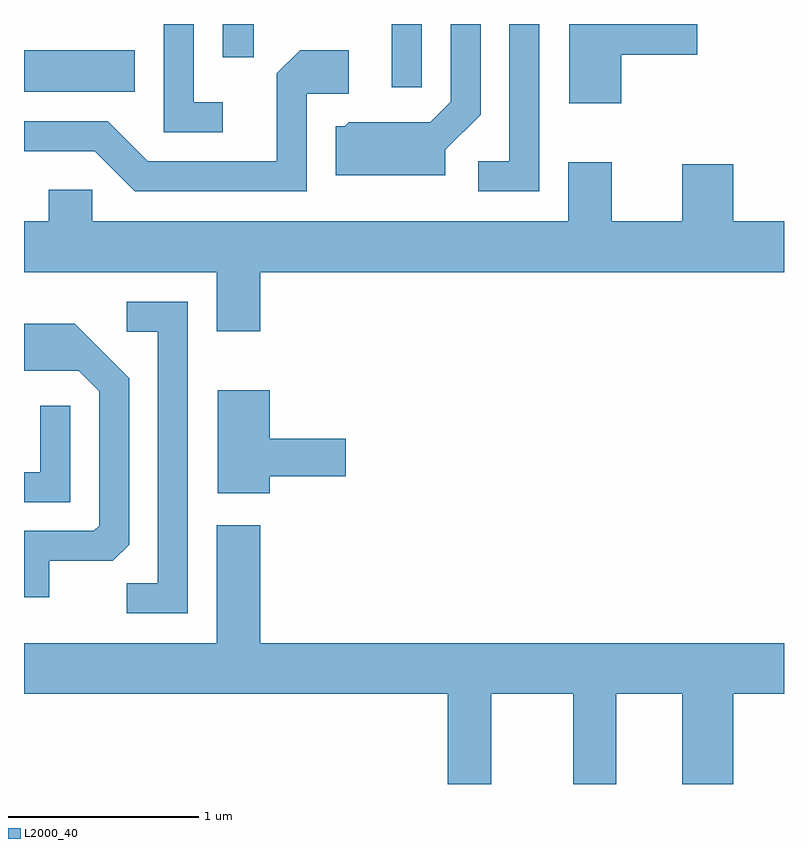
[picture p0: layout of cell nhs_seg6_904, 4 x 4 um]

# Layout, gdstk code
import gdstk
lib = gdstk.Library(unit=1e-6, precision=1e-09)
def R(c, l, rs):  # rectangles x0, y0, x1, y1
    for r in rs: c.add(gdstk.rectangle(r[:2], r[2:], *l))
def P(c, l, *ps):  # polygons
    for p in ps: c.add(gdstk.Polygon(p, *l))
L2000_40 = (2000, 40)

nhs_seg6_904 = lib.new_cell('nhs_seg6_904')
R(nhs_seg6_904, L2000_40, [(211.611,1619.806,212.194,1620.024), (213.546,1619.828,213.704,1620.162), (212.656,1619.988,212.819,1620.162)])
P(nhs_seg6_904, L2000_40, [(214.754,1620.001),(215.154,1620.001),(215.154,1620.162),(214.481,1620.162),(214.481,1619.746),(214.754,1619.746)],
  [(213.829,1619.499),(214.014,1619.684),(214.014,1620.162),(213.856,1620.162),(213.856,1619.752),(213.749,1619.644),(213.319,1619.644),(213.299,1619.624),(213.251,1619.624),(213.251,1619.366),(213.829,1619.366)],
  [(214.324,1620.162),(214.166,1620.162),(214.166,1619.439),(214.003,1619.439),(214.003,1619.281),(214.324,1619.281)],
  [(212.658,1619.749),(212.504,1619.749),(212.504,1620.162),(212.346,1620.162),(212.346,1619.591),(212.658,1619.591)],
  [(213.099,1619.796),(213.319,1619.796),(213.319,1620.024),(213.064,1620.024),(212.941,1619.902),(212.941,1619.439),(212.262,1619.439),(212.052,1619.649),(211.611,1619.649),(211.611,1619.491),(211.984,1619.491),(212.194,1619.281),(213.099,1619.281)],
  [(212.854,1618.856),(215.611,1618.856),(215.611,1619.124),(215.344,1619.124),(215.344,1619.424),(215.076,1619.424),(215.076,1619.124),(214.704,1619.124),(214.704,1619.434),(214.476,1619.434),(214.476,1619.124),(211.969,1619.124),(211.969,1619.289),(211.741,1619.289),(211.741,1619.124),(211.611,1619.124),(211.611,1618.856),(212.626,1618.856),(212.626,1618.546),(212.854,1618.546)],
  [(212.474,1618.699),(212.153,1618.699),(212.153,1618.541),(212.316,1618.541),(212.316,1617.219),(212.153,1617.219),(212.153,1617.061),(212.474,1617.061)],
  [(211.744,1617.336),(212.079,1617.336),(212.164,1617.422),(212.164,1618.297),(211.877,1618.584),(211.611,1618.584),(211.611,1618.336),(211.899,1618.336),(212.006,1618.229),(212.006,1617.522),(211.979,1617.494),(211.611,1617.494),(211.611,1617.146),(211.744,1617.146)],
  [(212.904,1617.781),(213.304,1617.781),(213.304,1617.979),(212.904,1617.979),(212.904,1618.234),(212.631,1618.234),(212.631,1617.691),(212.904,1617.691)],
  [(211.854,1618.153),(211.696,1618.153),(211.696,1617.804),(211.611,1617.804),(211.611,1617.646),(211.854,1617.646)],
  [(214.069,1616.636),(214.501,1616.636),(214.501,1616.162),(214.729,1616.162),(214.729,1616.636),(215.076,1616.636),(215.076,1616.162),(215.344,1616.162),(215.344,1616.636),(215.611,1616.636),(215.611,1616.904),(212.854,1616.904),(212.854,1617.524),(212.626,1617.524),(212.626,1616.904),(211.611,1616.904),(211.611,1616.636),(213.841,1616.636),(213.841,1616.162),(214.069,1616.162)])

lib.write_gds('nhs_seg6_904.gds')
